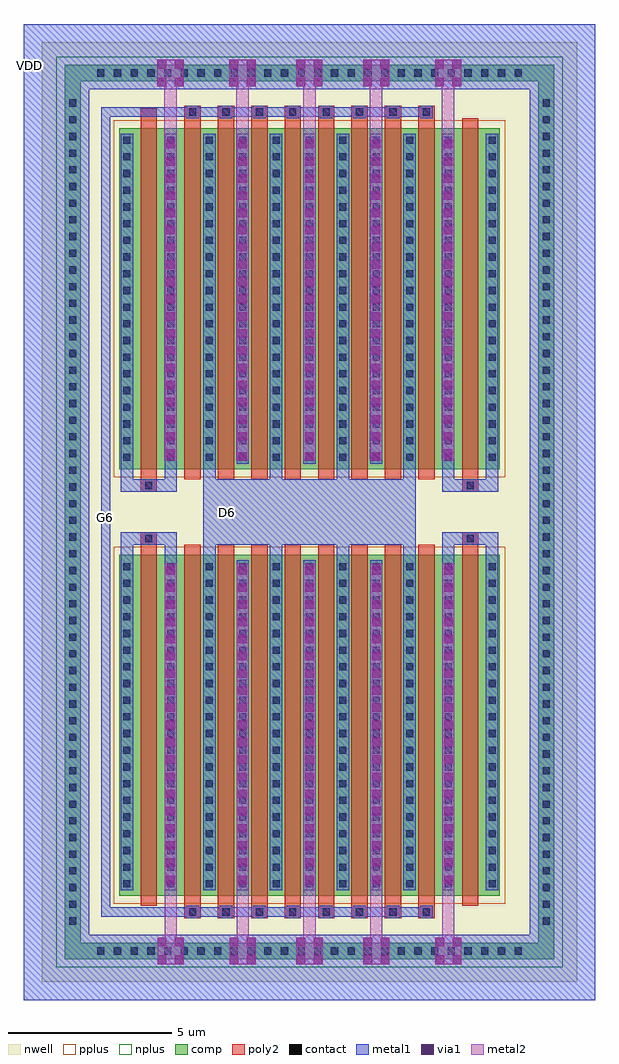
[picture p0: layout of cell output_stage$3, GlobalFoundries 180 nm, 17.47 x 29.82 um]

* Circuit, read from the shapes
.subckt output_stage$3 D6 G6 VDD
XM1 VDD VDD VDD VDD pfet_03v3 w=10.43u l=0.5u m=4
XM2 D6 G6 VDD VDD pfet_03v3 w=10.43u l=0.5u m=16
.ends

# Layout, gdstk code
import gdstk
lib = gdstk.Library(unit=1e-6, precision=1e-09)
def R(c, l, rs):  # rectangles x0, y0, x1, y1
    for r in rs: c.add(gdstk.rectangle(r[:2], r[2:], *l))
def A(c, l, x, y, w, h, nx, ny, dx, dy):  # array of equal rectangles
    R(c, l, [(x+i*dx, y+j*dy, x+i*dx+w, y+j*dy+h) for i in range(nx) for j in range(ny)])
nwell = (21, 0)
comp = (22, 0)
poly2 = (30, 0)
pplus = (31, 0)
nplus = (32, 0)
contact = (33, 0)
metal1 = (34, 0)
via1 = (35, 0)
metal2 = (36, 0)

pfet_1 = lib.new_cell('pfet$1')
R(pfet_1, nwell, [(-0.9,-0.44,8.92,10.87)])
R(pfet_1, comp, [(-0.46,0,0,10.43), (0,0,8.02,10.43), (8.02,0,8.48,10.43)])
A(pfet_1, poly2, 0.19, -0.3, 0.5, 11.03, 8, 1, 1.02, 0)
A(pfet_1, poly2, 0.19, 10.73, 0.5, 0.38, 8, 1, 1.02, 0)
R(pfet_1, pplus, [(-0.63,-0.24,8.65,10.67)])
A(pfet_1, contact, -0.34, 0.26, 0.22, 0.22, 1, 20, 0, 0.51)
A(pfet_1, contact, 0.84, 0.26, 0.22, 0.22, 7, 20, 1.02, 0.51)
A(pfet_1, contact, 8.14, 0.26, 0.22, 0.22, 1, 20, 0, 0.51)
A(pfet_1, contact, 0.33, 10.81, 0.22, 0.22, 8, 1, 1.02, 0)
A(pfet_1, metal1, 0.76, 0.18, 0.38, 10.07, 7, 1, 1.02, 0)
A(pfet_1, metal1, 0.25, 10.73, 0.38, 0.38, 8, 1, 1.02, 0)
R(pfet_1, metal1, [(-0.42,0.18,-0.04,10.25), (8.06,0.18,8.44,10.25)])

pfet_2 = lib.new_cell('pfet$2')
R(pfet_2, nwell, [(-0.9,-0.44,1.78,10.87)])
R(pfet_2, comp, [(-0.46,0,0,10.43), (0,0,0.88,10.43), (0.88,0,1.34,10.43)])
R(pfet_2, poly2, [(0.19,-0.3,0.69,10.73), (0.19,10.73,0.69,11.11)])
R(pfet_2, pplus, [(-0.63,-0.24,1.51,10.67)])
A(pfet_2, contact, -0.34, 0.26, 0.22, 0.22, 1, 20, 0, 0.51)
A(pfet_2, contact, 1, 0.26, 0.22, 0.22, 1, 20, 0, 0.51)
R(pfet_2, contact, [(0.33,10.81,0.55,11.03)])
R(pfet_2, metal1, [(-0.42,0.18,-0.04,10.25), (0.92,0.18,1.3,10.25), (0.25,10.73,0.63,11.11)])

output_stage_3 = lib.new_cell('output_stage$3')
R(output_stage_3, nwell, [(0.395,-14.335,16.745,14.365)])
R(output_stage_3, poly2, [(3.41,12.045,3.91,12.355)])
A(output_stage_3, contact, 2.085, -13.505, 0.22, 0.22, 26, 2, 0.51, 26.82)
A(output_stage_3, contact, 1.225, -12.59, 0.22, 0.22, 1, 50, 0, 0.51)
A(output_stage_3, contact, 15.695, -12.59, 0.22, 0.22, 1, 50, 0, 0.51)
A(output_stage_3, via1, 6.4, -11.355, 0.26, 0.26, 3, 2, 2.04, 0.535)
A(output_stage_3, via1, 4.2, -10.82, 0.26, 0.26, 1, 3, 0, 0.52)
A(output_stage_3, via1, 12.68, -10.82, 0.26, 0.26, 1, 3, 0, 0.52)
A(output_stage_3, via1, 6.4, -10.3, 0.26, 0.26, 3, 2, 2.04, 0.52)
A(output_stage_3, via1, 4.2, -9.245, 0.26, 0.26, 1, 3, 0, 0.52)
A(output_stage_3, via1, 6.4, -9.245, 0.26, 0.26, 3, 3, 2.04, 0.52)
A(output_stage_3, via1, 12.68, -9.245, 0.26, 0.26, 1, 3, 0, 0.52)
A(output_stage_3, via1, 4.2, -7.67, 0.26, 0.26, 1, 3, 0, 0.52)
A(output_stage_3, via1, 6.4, -7.67, 0.26, 0.26, 3, 3, 2.04, 0.52)
A(output_stage_3, via1, 12.68, -7.67, 0.26, 0.26, 1, 3, 0, 0.52)
A(output_stage_3, via1, 4.2, -6.095, 0.26, 0.26, 1, 3, 0, 0.52)
A(output_stage_3, via1, 6.4, -6.095, 0.26, 0.26, 3, 3, 2.04, 0.52)
A(output_stage_3, via1, 12.68, -6.095, 0.26, 0.26, 1, 3, 0, 0.52)
A(output_stage_3, via1, 4.2, -4.52, 0.26, 0.26, 1, 3, 0, 0.52)
A(output_stage_3, via1, 6.4, -4.52, 0.26, 0.26, 3, 3, 2.04, 0.52)
A(output_stage_3, via1, 12.68, -4.52, 0.26, 0.26, 1, 3, 0, 0.52)
A(output_stage_3, via1, 4.2, -2.945, 0.26, 0.26, 1, 3, 0, 0.52)
A(output_stage_3, via1, 6.4, -2.945, 0.26, 0.26, 3, 3, 2.04, 0.52)
A(output_stage_3, via1, 12.68, -2.945, 0.26, 0.26, 1, 3, 0, 0.52)
A(output_stage_3, via1, 6.395, 1.585, 0.26, 0.26, 3, 2, 2.04, 0.61)
A(output_stage_3, via1, 4.195, 1.675, 0.26, 0.26, 1, 3, 0, 0.52)
A(output_stage_3, via1, 12.675, 1.675, 0.26, 0.26, 1, 3, 0, 0.52)
A(output_stage_3, via1, 6.395, 2.715, 0.26, 0.26, 3, 2, 2.04, 0.535)
A(output_stage_3, via1, 4.195, 3.25, 0.26, 0.26, 1, 3, 0, 0.52)
A(output_stage_3, via1, 12.675, 3.25, 0.26, 0.26, 1, 3, 0, 0.52)
A(output_stage_3, via1, 6.395, 3.77, 0.26, 0.26, 3, 2, 2.04, 0.52)
A(output_stage_3, via1, 4.195, 4.825, 0.26, 0.26, 1, 3, 0, 0.52)
A(output_stage_3, via1, 6.395, 4.825, 0.26, 0.26, 3, 3, 2.04, 0.52)
A(output_stage_3, via1, 12.675, 4.825, 0.26, 0.26, 1, 3, 0, 0.52)
A(output_stage_3, via1, 4.195, 6.4, 0.26, 0.26, 1, 3, 0, 0.52)
A(output_stage_3, via1, 6.395, 6.4, 0.26, 0.26, 3, 3, 2.04, 0.52)
A(output_stage_3, via1, 12.675, 6.4, 0.26, 0.26, 1, 3, 0, 0.52)
A(output_stage_3, via1, 4.195, 7.975, 0.26, 0.26, 1, 3, 0, 0.52)
A(output_stage_3, via1, 6.395, 7.975, 0.26, 0.26, 3, 3, 2.04, 0.52)
A(output_stage_3, via1, 12.675, 7.975, 0.26, 0.26, 1, 3, 0, 0.52)
A(output_stage_3, via1, 4.195, 9.55, 0.26, 0.26, 1, 3, 0, 0.52)
A(output_stage_3, via1, 6.395, 9.55, 0.26, 0.26, 3, 3, 2.04, 0.52)
A(output_stage_3, via1, 12.675, 9.55, 0.26, 0.26, 1, 3, 0, 0.52)
A(output_stage_3, via1, 6.395, 11.125, 0.26, 0.26, 3, 1, 2.04, 0)
R(output_stage_3, via1, [(3.94,-13.79,4.2,-13.53), (4.46,-13.79,4.72,-13.53), (6.14,-13.79,6.4,-13.53), (6.66,-13.79,6.92,-13.53), (8.18,-13.79,8.44,-13.53), (8.7,-13.79,8.96,-13.53), (10.22,-13.79,10.48,-13.53), (10.74,-13.79,11,-13.53), (12.42,-13.79,12.68,-13.53), (12.94,-13.79,13.2,-13.53), (3.94,-13.26,4.2,-13), (4.46,-13.26,4.72,-13), (6.14,-13.26,6.4,-13), (6.66,-13.26,6.92,-13), (8.18,-13.26,8.44,-13), (8.7,-13.26,8.96,-13), (10.22,-13.26,10.48,-13), (10.74,-13.26,11,-13), (12.42,-13.26,12.68,-13), (12.94,-13.26,13.2,-13), (4.2,-11.355,4.46,-11.095), (12.68,-11.355,12.94,-11.095), (4.195,11.125,4.455,11.385), (12.675,11.125,12.935,11.385), (3.935,13.03,4.195,13.29), (4.455,13.03,4.715,13.29), (6.135,13.03,6.395,13.29), (6.655,13.03,6.915,13.29), (8.175,13.03,8.435,13.29), (8.695,13.03,8.955,13.29), (10.215,13.03,10.475,13.29), (10.735,13.03,10.995,13.29), (12.415,13.03,12.675,13.29), (12.935,13.03,13.195,13.29), (3.935,13.56,4.195,13.82), (4.455,13.56,4.715,13.82), (6.135,13.56,6.395,13.82), (6.655,13.56,6.915,13.82), (8.175,13.56,8.435,13.82), (8.695,13.56,8.955,13.82), (10.215,13.56,10.475,13.82), (10.735,13.56,10.995,13.82), (12.415,13.56,12.675,13.82), (12.935,13.56,13.195,13.82)])
A(output_stage_3, metal2, 6.13, -13.8, 0.8, 0.81, 3, 1, 2.04, 0)
A(output_stage_3, metal2, 6.125, 13.02, 0.8, 0.81, 3, 1, 2.04, 0)
R(output_stage_3, metal2, [(3.93,-13.8,4.73,-12.99), (12.41,-13.8,13.21,-12.99), (3.925,13.02,4.725,13.83), (12.405,13.02,13.205,13.83)])
output_stage_3.add(gdstk.FlexPath([(5.32,0.015),(11.82,0.015)], 2, ends="flush", simple_path=True, layer=34, datatype=0))  # metal1
output_stage_3.add(gdstk.FlexPath([(9.59,-1.465),(9.59,-0.985)], 0.38, ends="flush", simple_path=True, layer=34, datatype=0))  # metal1
output_stage_3.add(gdstk.FlexPath([(5.51,-1.465),(5.51,-0.985)], 0.38, ends="flush", simple_path=True, layer=34, datatype=0))  # metal1
output_stage_3.add(gdstk.FlexPath([(11.63,-1.465),(11.63,-0.985)], 0.38, ends="flush", simple_path=True, layer=34, datatype=0))  # metal1
output_stage_3.add(gdstk.FlexPath([(7.55,-1.465),(7.55,-0.985)], 0.38, ends="flush", simple_path=True, layer=34, datatype=0))  # metal1
output_stage_3.add(gdstk.FlexPath([(9.59,1.015),(9.59,1.495)], 0.38, ends="flush", simple_path=True, layer=34, datatype=0))  # metal1
output_stage_3.add(gdstk.FlexPath([(5.51,1.015),(5.51,1.495)], 0.38, ends="flush", simple_path=True, layer=34, datatype=0))  # metal1
output_stage_3.add(gdstk.FlexPath([(11.63,1.015),(11.63,1.495)], 0.38, ends="flush", simple_path=True, layer=34, datatype=0))  # metal1
output_stage_3.add(gdstk.FlexPath([(7.55,1.015),(7.55,1.495)], 0.38, ends="flush", simple_path=True, layer=34, datatype=0))  # metal1
output_stage_3.add(gdstk.FlexPath([(12.33,12.235),(2.34,12.235),(2.34,-12.205),(12.25,-12.205)], 0.28, ends="flush", simple_path=True, layer=34, datatype=0))  # metal1
output_stage_3.add(gdstk.FlexPath([(1.835,13.925),(16.305,13.925),(16.305,-13.895),(0.835,-13.895),(0.835,14.925)], 2, ends="flush", simple_path=True, layer=34, datatype=0))  # metal1
output_stage_3.add(gdstk.FlexPath([(12.81,-1.465),(12.81,-0.795),(14.15,-0.795),(14.15,-1.465)], 0.38, ends="flush", simple_path=True, layer=34, datatype=0))  # metal1
output_stage_3.add(gdstk.FlexPath([(12.81,1.495),(12.81,0.825),(14.15,0.825),(14.15,1.495)], 0.38, ends="flush", simple_path=True, layer=34, datatype=0))  # metal1
output_stage_3.add(gdstk.FlexPath([(2.99,-1.465),(2.99,-0.795),(4.33,-0.795),(4.33,-1.465)], 0.38, ends="flush", simple_path=True, layer=34, datatype=0))  # metal1
output_stage_3.add(gdstk.FlexPath([(2.99,1.495),(2.99,0.825),(4.33,0.825),(4.33,1.495)], 0.38, ends="flush", simple_path=True, layer=34, datatype=0))  # metal1
output_stage_3.add(gdstk.FlexPath([(1.835,13.425),(15.805,13.425),(15.805,-13.395),(1.335,-13.395),(1.335,13.925)], 1, ends="flush", simple_path=True, layer=32, datatype=0))  # nplus
output_stage_3.add(gdstk.FlexPath([(1.585,13.425),(15.805,13.425),(15.805,-13.395),(1.335,-13.395),(1.335,13.675)], 0.5, ends="flush", simple_path=True, layer=22, datatype=0))  # comp
output_stage_3.add(gdstk.FlexPath([(4.33,-1.565),(4.33,-12.99)], 0.38, ends="flush", simple_path=True, layer=36, datatype=0))  # metal2
output_stage_3.add(gdstk.FlexPath([(6.53,-1.565),(6.53,-12.99)], 0.38, ends="flush", simple_path=True, layer=36, datatype=0))  # metal2
output_stage_3.add(gdstk.FlexPath([(8.57,-1.565),(8.57,-12.99)], 0.38, ends="flush", simple_path=True, layer=36, datatype=0))  # metal2
output_stage_3.add(gdstk.FlexPath([(10.61,-1.565),(10.61,-12.99)], 0.38, ends="flush", simple_path=True, layer=36, datatype=0))  # metal2
output_stage_3.add(gdstk.FlexPath([(12.81,-1.565),(12.81,-12.99)], 0.38, ends="flush", simple_path=True, layer=36, datatype=0))  # metal2
output_stage_3.add(gdstk.FlexPath([(4.325,1.595),(4.325,13.02)], 0.38, ends="flush", simple_path=True, layer=36, datatype=0))  # metal2
output_stage_3.add(gdstk.FlexPath([(6.525,1.595),(6.525,13.02)], 0.38, ends="flush", simple_path=True, layer=36, datatype=0))  # metal2
output_stage_3.add(gdstk.FlexPath([(8.565,1.595),(8.565,13.02)], 0.38, ends="flush", simple_path=True, layer=36, datatype=0))  # metal2
output_stage_3.add(gdstk.FlexPath([(10.605,1.595),(10.605,13.02)], 0.38, ends="flush", simple_path=True, layer=36, datatype=0))  # metal2
output_stage_3.add(gdstk.FlexPath([(12.805,1.595),(12.805,13.02)], 0.38, ends="flush", simple_path=True, layer=36, datatype=0))  # metal2
output_stage_3.add(gdstk.Reference(pfet_1, (4.56,1.315)))
output_stage_3.add(gdstk.Reference(pfet_2, (13.04,11.745), x_reflection=True))
output_stage_3.add(gdstk.Reference(pfet_2, (3.22,11.745), x_reflection=True))
output_stage_3.add(gdstk.Reference(pfet_2, (13.04,-11.715)))
output_stage_3.add(gdstk.Reference(pfet_1, (4.56,-1.285), x_reflection=True))
output_stage_3.add(gdstk.Reference(pfet_2, (3.22,-11.715)))
output_stage_3.add(gdstk.Label('VDD', (0,13.65), layer=34, texttype=10))
output_stage_3.add(gdstk.Label('G6', (2.34,-0.145), layer=34, texttype=10))
output_stage_3.add(gdstk.Label('D6', (6.065,0.015), layer=34, texttype=10))

lib.write_gds('output_stage_3.gds')
